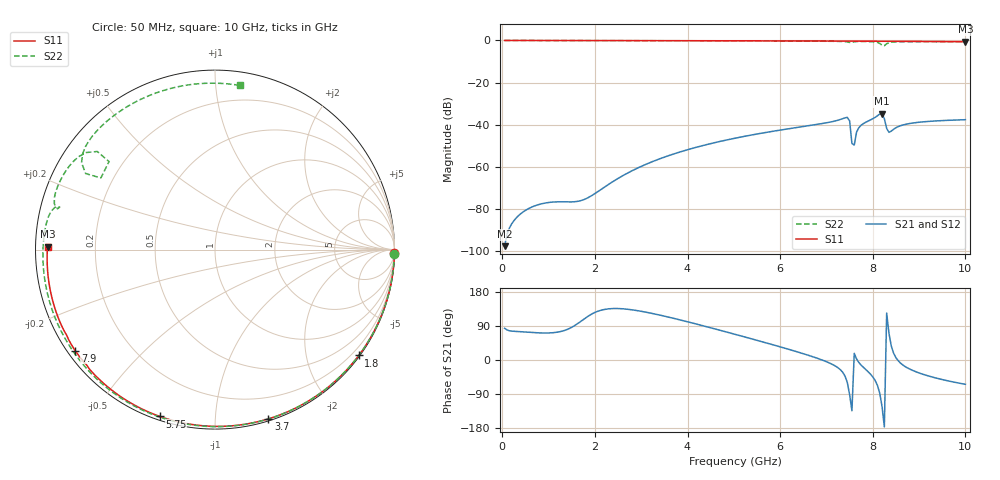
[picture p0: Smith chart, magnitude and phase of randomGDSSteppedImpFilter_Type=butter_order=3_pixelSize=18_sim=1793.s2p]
! freq	dB(S11)	phase(S11)	dB(S12)	phase(S12)
!  dB(S21)	phase(S21)	dB(S22)	phase(S22)
!S-par simulation data
#  GHz  S  DB  R 50
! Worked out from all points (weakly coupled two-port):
!   200 points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, 50 MHz to 10 GHz, reference 50 ohm
!   highest |S21| = -34.72 dB at 8.2 GHz (marker M1); lowest = -97.7 dB at 50 MHz (marker M2)
!   lowest |S11| = -0.6 dB at 10 GHz (marker M3), VSWR 28.98, Z = 1.73 + j0.459 ohm
!   |S11| at or under -10 dB: nowhere
!   |S22| runs from -2.5 to 0.0 dB; largest |S21 - S12| = 0
!   S11 on the Smith chart (normalised r, x): 50 MHz: open; 1.8 GHz: 0.03, -3.04; 3.7 GHz: 0.02, -1.36; 5.75 GHz: 0.02, -0.72; 7.9 GHz: 0.02, -0.32; 10 GHz: 0.03, +0.01
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0.05  -0.00 -1.0  -97.72 83.7  -97.72 83.7  -0.00 -1.4
1.75  -0.04 -35.4  -75.70 106.8  -75.70 106.8  -0.06 -47.3
1.8  -0.05 -36.4  -75.25 111.1  -75.25 111.1  -0.06 -48.6
2.65  -0.07 -52.9  -63.65 134.6  -63.65 134.6  -0.09 -70.6
3.4  -0.09 -67.0  -56.22 118.5  -56.22 118.5  -0.12 -89.5
3.7  -0.10 -72.5  -53.93 110.0  -53.93 110.0  -0.13 -96.9
5.05  -0.15 -96.4  -46.33 67.0  -46.33 67.0  -0.20 -129.9
5.75  -0.18 -108.3  -43.48 43.4  -43.48 43.4  -0.25 -147.3
6.7  -0.24 -124.2  -40.20 8.8  -40.20 8.8  -0.33 -172.1
7.45  -0.31 -136.8  -36.55 -59.2  -36.55 -59.2  -0.70 165.2
7.5  -0.33 -137.6  -38.22 -91.5  -38.22 -91.5  -0.94 164.7
7.55  -0.34 -138.3  -48.94 -133.9  -48.94 -133.9  -0.85 165.5
7.6  -0.34 -139.1  -49.69 17.5  -49.69 17.5  -0.62 164.1
7.65  -0.33 -139.9  -43.54 2.8  -43.54 2.8  -0.53 162.1
7.7  -0.33 -140.8  -41.41 -6.6  -41.41 -6.6  -0.50 160.2
7.9  -0.35 -144.1  -38.29 -31.0  -38.29 -31.0  -0.54 152.5
8.2  -0.39 -149.3  -34.72 -122.8  -34.72 -122.8  -2.30 140.3
8.25  -0.41 -150.0  -37.21 -176.6  -37.21 -176.6  -2.49 147.9
8.35  -0.40 -151.6  -43.65 70.3  -43.65 70.3  -1.04 147.0
8.65  -0.43 -156.8  -40.15 -13.3  -40.15 -13.3  -0.59 133.1
9.1  -0.48 -164.7  -38.64 -38.3  -38.64 -38.3  -0.59 116.2
10  -0.60 178.9  -37.64 -64.1  -37.64 -64.1  -0.68 81.3
